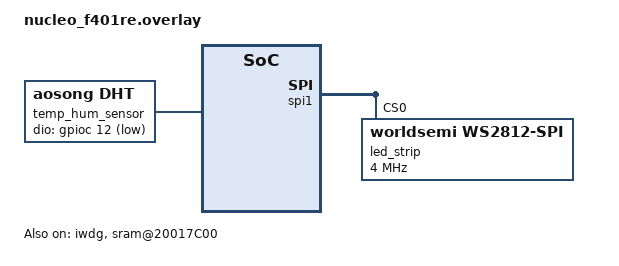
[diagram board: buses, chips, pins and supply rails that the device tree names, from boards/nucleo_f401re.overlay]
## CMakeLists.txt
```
# SPDX-License-Identifier: Apache-2.0

cmake_minimum_required(VERSION 3.20.0)

find_package(Zephyr REQUIRED HINTS $ENV{ZEPHYR_BASE})
project(zephyr_portfolio)

# option(TESTS "Run tests in test/" ON)
# option(TESTS "Run tests in test/" OFF)
if(TESTS)
    target_sources(app PRIVATE test/main.c src/tl_smf.c src/usr_thread.c)
else()
    target_sources(app PRIVATE src/main.c src/tl_smf.c src/usr_thread.c)
endif()
unset(TESTS CACHE)
```

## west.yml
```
manifest:
  self:
    west-commands: scripts/west-commands.yml
    path: app

  remotes:
    - name: zephyrproject-rtos
      url-base: https://github.com/zephyrproject-rtos

  projects:
    - name: zephyr
      remote: zephyrproject-rtos
      revision: v3.7.0
      import:
        path-prefix: deps
        name-allowlist:
          - zephyr
          - mbedtls
          - mcuboot
          - cmsis
          - hal_stm32
          - segger
          - zcbor
```

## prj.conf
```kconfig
# CONFIG THE OPTIMIZATION LEVEL AND OTHER OPTIMIZING FLAGS
#CONFIG_NO_OPTIMIZATIONS=y
CONFIG_DEBUG_OPTIMIZATIONS=y
CONFIG_BOOT_BANNER=y

# CONFIG THE COREDUMP
CONFIG_DEBUG_COREDUMP=y 
CONFIG_DEBUG_COREDUMP_BACKEND_LOGGING=y 

# CONFIG THE HARDWARE INFO SYSTEM
CONFIG_HWINFO=y

# CONFIG THE RETENTION SYSTEM
CONFIG_RETAINED_MEM=y
CONFIG_RETENTION=y

# INCREMENT MAIN TASK STACK SIZE AND PRIO BECOUSE OF THE SETTINGS SUBSYSTEM WITH NVS
CONFIG_MAIN_STACK_SIZE=4096
CONFIG_MAIN_THREAD_PRIORITY=5

# USE MCUBOOT
CONFIG_BOOTLOADER_MCUBOOT=y
CONFIG_MCUBOOT_SIGNATURE_KEY_FILE="deps/bootloader/mcuboot/root-rsa-2048.pem"
CONFIG_MCUBOOT_GENERATE_CONFIRMED_IMAGE=y

# USE LOG SUBSYSTEM
CONFIG_LOG=y
CONFIG_LOG_MODE_MINIMAL=y

# USE GPIO API
CONFIG_GPIO=y

# USE LED-STRIP API
CONFIG_LED_STRIP=y
CONFIG_LED_STRIP_LOG_LEVEL_DBG=y

# USE SENSING SUBSYSTEM
CONFIG_SENSOR=y
# ADD FLOATING POINT
CONFIG_REQUIRES_FULL_LIBC=y
CONFIG_REQUIRES_FLOAT_PRINTF=y
CONFIG_CBPRINTF_FP_SUPPORT=y

# USE FLASH API
CONFIG_FLASH=y
CONFIG_FLASH_PAGE_LAYOUT=y
CONFIG_FLASH_MAP=y

# ALLOW MPU TO WRITE IN FLASH
CONFIG_MPU_ALLOW_FLASH_WRITE=y

# USE NON VOLATILE STORAGE (NVS) SUBSYSTEM
CONFIG_NVS=y

# USE SETTINGS SUBSYSTEM
CONFIG_SETTINGS=y
CONFIG_SETTINGS_RUNTIME=y

# USE SETTINGS SUBSYSTEM WITH NVS SUBSYSTEM
CONFIG_SETTINGS_NVS=y

# USE SEGGER RTT AND TRACE SUBSYSTEM
CONFIG_STDOUT_CONSOLE=y
CONFIG_THREAD_NAME=y
CONFIG_SCHED_CPU_MASK=y
CONFIG_THREAD_ANALYZER=y
CONFIG_USE_SEGGER_RTT=y
CONFIG_SEGGER_SYSTEMVIEW=y
CONFIG_TRACING=y
CONFIG_TRACING_BACKEND_RAM=y

# USE ZBUS
CONFIG_ZBUS=y
CONFIG_ZBUS_LOG_LEVEL_INF=y
CONFIG_ZBUS_CHANNEL_NAME=y
CONFIG_ZBUS_OBSERVER_NAME=y
CONFIG_ZBUS_RUNTIME_OBSERVERS=y

# USE TASK WATCHDOG
CONFIG_WATCHDOG=y
CONFIG_WDT_DISABLE_AT_BOOT=y
CONFIG_TASK_WDT=y
CONFIG_TASK_WDT_CHANNELS=3
CONFIG_TASK_WDT_MIN_TIMEOUT=300
CONFIG_TASK_WDT_HW_FALLBACK_DELAY=30

# USE ZEPHYR KERNEL EVENTS
CONFIG_EVENTS=y

# USE FINITE STATE MACHINE SUBSYSTEM
CONFIG_SMF=y

# USE USER SPACE
CONFIG_MPU=y
CONFIG_USERSPACE=y
```

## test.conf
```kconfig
# ADD UNIT TESTING
CONFIG_ZTEST=y
```

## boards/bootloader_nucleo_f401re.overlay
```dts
/*
 * Copyright (c) 2023 Martin Jäger / Libre Solar
 *
 * SPDX-License-Identifier: Apache-2.0
 */

#include "nucleo_f401re.overlay"

/ {
	chosen {
		zephyr,code-partition = &boot_partition;
	};
};
```

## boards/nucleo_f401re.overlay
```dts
/*
 * Copyright (c) 2023 Martin Jäger / Libre Solar
 *
 * SPDX-License-Identifier: Apache-2.0
 */

 #include <zephyr/dt-bindings/led/led.h>

 / {
	chosen {
		zephyr,settings-partition = &storage_partition;
	};

	aliases {
		retention-data = &retention0;
		led-strip = &led_strip;
		temp-hum-sensor = &temp_hum_sensor;
		dbg-pin0 = &dbg_pin0;
		dbg-pin1 = &dbg_pin1;
		watchdog = &iwdg;
		tl-red = &tl_red;
		tl-orange = &tl_orange;
		tl-green = &tl_green;
	};

	sram@20017C00 {
		compatible = "zephyr,memory-region", "mmio-sram";
		reg = <0x20017C00 DT_SIZE_K(1)>;
		zephyr,memory-region = "RetainedMem";
		status = "okay";
		
		retainedmem {
			compatible = "zephyr,retained-ram";
			status = "okay";
			#address-cells = <1>;
			#size-cells = <1>;

			retention0: retention@0 {
				compatible = "zephyr,retention";
				status = "okay";
				reg = <0x0 0x400>;
				prefix = [de ad be ef];
				checksum = <1>;
			};
		};
	};

	dbg_pins: dbg_pins {
		compatible = "debug-pins";
		dbg_pin0: dbg_pin_0 {
			gpios = <&gpioc 6 GPIO_ACTIVE_HIGH>;
			label = "Debug PIn 0";
		};
		dbg_pin1: dbg_pin_1 {
			gpios = <&gpioc 8 GPIO_ACTIVE_HIGH>;
			label = "Debug PIn 1";
		};
	};

	tl_pins: tl_pins {
		compatible = "trafficlight-pins";
		tl_red: tl_red0 {
			gpios = <&gpioc 10 GPIO_ACTIVE_HIGH>;
			label = "Trafficlight Red";
		};
		tl_orange: tl_orange0 {
			gpios = <&gpioc 11 GPIO_ACTIVE_HIGH>;
			label = "Trafficlight Orange";
		};
		tl_green: tl_green0 {
			gpios = <&gpiod 2 GPIO_ACTIVE_HIGH>;
			label = "Trafficlight Green";
		};
	};

	temp_hum_sensor: dht110 {
		compatible = "aosong,dht";
		status = "okay";
		dio-gpios = <&gpioc 12 (GPIO_PULL_UP | GPIO_ACTIVE_LOW)>;
	};
};

// Reduce the sram0 size by the size of the retained memory
&sram0 {
	reg = <0x20000000 DT_SIZE_K(95)>;
};

/delete-node/ &boot_partition;
/delete-node/ &slot0_partition;
/delete-node/ &slot1_partition;
/delete-node/ &scratch_partition;

&flash0 {
	partitions {

		/*
		 * Accordingly with zephyr/drivers/flash/flash_stm32f4x.c :
		 * 
		 * static const struct flash_pages_layout stm32f4_flash_layout[] = {
		 * 	
		 * 	 // RM0368, table 5: STM32F401xE
		 * 	 // RM0383, table 4: STM32F411xE
		 * 	 // RM0390, table 4: STM32F446xx
		 * 
		 * 	{.pages_count = 4, .pages_size = KB(16)},
		 * 	{.pages_count = 1, .pages_size = KB(64)},
		 * 	{.pages_count = 3, .pages_size = KB(128)},
		 * };
		*/

		compatible = "fixed-partitions";
		#address-cells = <1>;
		#size-cells = <1>;
		
		boot_partition: partition@0 {
			label = "mcuboot";
			reg = <0x00000000 DT_SIZE_K(32)>;
			read-only;
		};
		storage_partition: partition@8000 {
			label = "storage";
			reg = <0x00008000 DT_SIZE_K(32)>;
		};

		/*
		 * The flash starting at offset 0x10000 and ending at
		 * offset 0x1ffff is reserved for use by the application.
		 * it is 1 page of 64KB
		 */

		slot0_partition: partition@20000 {
			label = "image-0";
			reg = <0x00020000 DT_SIZE_K(128)>;
		};
		slot1_partition: partition@40000 {
			label = "image-1";
			reg = <0x00040000 DT_SIZE_K(128)>;
		};
		scratch_partition: partition@60000 {
			label = "image-scratch";
			reg = <0x00060000 DT_SIZE_K(128)>;
		};
	};
};

&spi1 {
	led_strip: ws2812@0 {
		compatible = "worldsemi,ws2812-spi";

		/* SPI */
		reg = <0>; /* ignored, but necessary for SPI bindings */
		spi-max-frequency = <4000000>;
		frame-format = <32768>; /* SPI_FRAME_FORMAT_TI */

		/* WS2812 */
		chain-length = <3>; /* arbitrary; change at will */
		spi-one-frame = <0x70>;
		spi-zero-frame = <0x40>;
		color-mapping = <LED_COLOR_ID_GREEN
				 LED_COLOR_ID_RED
				 LED_COLOR_ID_BLUE>;
	};
};

&wwdg {
	status = "disabled";
};

&iwdg {
	status = "okay";
};
```

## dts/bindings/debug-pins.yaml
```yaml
description: GPIO pin for debug purposes
compatible: "debug-pins"

child-binding:
  description: The GPIO used for debug with logic analyzer.
  properties:
    gpios:
      type: phandle-array
      required: true
    label:
      type: string
      description: |
        The GPIO used for debug with logic analyzer.
```

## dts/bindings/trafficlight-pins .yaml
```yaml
description: GPIO pin for Trafficlight
compatible: "trafficlight-pins"

child-binding:
  description: The GPIO used for the trafficlight.
  properties:
    gpios:
      type: phandle-array
      required: true
    label:
      type: string
      description: |
        The GPIO used for the trafficlight.
```

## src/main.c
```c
/*
 * Copyright (c) 2024-2025 Silvio Vallorani
 *
 * SPDX-License-Identifier: Apache-2.0
 */

#include <SEGGER_RTT.h>
#include <SEGGER_RTT_Conf.h>
#include <errno.h>
#include <stdbool.h>
#include <stdio.h>
#include <string.h>
#include <zephyr/kernel.h>
#include <zephyr/device.h>
#include <zephyr/devicetree.h>
#include <zephyr/drivers/watchdog.h>
#include <zephyr/drivers/gpio.h>
#include <zephyr/drivers/hwinfo.h>
#include <zephyr/drivers/led_strip.h>
#include <zephyr/drivers/sensor.h>
#include <zephyr/drivers/spi.h>
#include <zephyr/retention/retention.h>
#include <zephyr/settings/settings.h>
#include <zephyr/sys/reboot.h>
#include <zephyr/sys/printk.h>
#include <zephyr/sys/util.h>
#include <zephyr/task_wdt/task_wdt.h>
#include <zephyr/zbus/zbus.h>
#include <zephyr/sys/libc-hooks.h>
#include "tl_smf.h"
#include "usr_thread.h"

// TASK WATCHDOG SUBSYSTEM DEFINITIONS
//#define FORCE_TEST_TASK_WATCHDOG // Uncomment to test the task watchdog
static const struct device *const hw_wdt_dev = DEVICE_DT_GET(DT_ALIAS(watchdog));
static void task_wdt_callback(int channel_id, void *user_data);

// RETENTION SYSTEM DEFINITIONS
static const struct device *retention_data = DEVICE_DT_GET(DT_ALIAS(retention_data));

// DEBUG PINS DEFINITIONS
static const struct gpio_dt_spec dbg_pin0 = GPIO_DT_SPEC_GET(DT_ALIAS(dbg_pin0), gpios);

// ONBOARD LED DEFINITIONS
static const struct gpio_dt_spec led = GPIO_DT_SPEC_GET(DT_ALIAS(led0), gpios);

// ONBOARD BUTTON DEFINITIONS
static const struct gpio_dt_spec button = GPIO_DT_SPEC_GET_OR(DT_ALIAS(sw0), gpios, {0});
#define BUTTON_ACTION_LEN (sizeof(int))
#define BUTTON_ACTION_ARRAY_SIZE (1)
K_MSGQ_DEFINE(button_action_msgq, BUTTON_ACTION_LEN, BUTTON_ACTION_ARRAY_SIZE, 4);
static struct gpio_callback button_cb_data;

// STRIP LED DEFINITIONS
#define LED_STRIP_NODE          DT_ALIAS(led_strip)
#define LED_STRIP_NUM_PIXELS    DT_PROP(DT_ALIAS(led_strip), chain_length)
#define RGB(_r, _g, _b) {.r = (_r), .g = (_g), .b = (_b)}
#define AMBIENT_HOT_THREASHOLD  (25)
#define AMBIENT_COLD_THREASHOLD (18)
#define AMBIENT_WET_THREASHOLD  (90)
#define AMBIENT_DRY_THREASHOLD  (70)
typedef enum {
    AMBIENT_HOT_WET,
    AMBIENT_HOT_NORMAL,
    AMBIENT_HOT_DRY,
    AMBIENT_NORMAL_WET,
    AMBIENT_NORMAL_NORMAL,
    AMBIENT_NORMAL_DRY,
    AMBIENT_COLD_WET,
    AMBIENT_COLD_NORMAL,
    AMBIENT_COLD_DRY,

    NUM_AMBIENT_STATES
} AMBIENT_STATE;
static const struct led_rgb default_ambient_rgb_table[NUM_AMBIENT_STATES] = {
    [AMBIENT_HOT_WET      ] RGB(0xff, 0x00, 0x00), // red
    [AMBIENT_HOT_NORMAL   ] RGB(0xff, 0x7f, 0x00), // orange
    [AMBIENT_HOT_DRY      ] RGB(0xff, 0xff, 0x00), // yellow
    [AMBIENT_NORMAL_WET   ] RGB(0x00, 0x00, 0xff), // blue
    [AMBIENT_NORMAL_NORMAL] RGB(0x00, 0xff, 0x00), // green
    [AMBIENT_NORMAL_DRY   ] RGB(0x00, 0xff, 0xff), // cyan
    [AMBIENT_COLD_WET     ] RGB(0xff, 0x7f, 0xff), // pink
    [AMBIENT_COLD_NORMAL  ] RGB(0xff, 0x00, 0xff), // purple
    [AMBIENT_COLD_DRY     ] RGB(0xff, 0xff, 0xff), // white
};
static const struct led_rgb alternate_ambient_rgb_table[NUM_AMBIENT_STATES] = {
    [AMBIENT_HOT_WET      ] RGB(0xff, 0xff, 0xff), // white
    [AMBIENT_HOT_NORMAL   ] RGB(0xff, 0x00, 0xff), // purple
    [AMBIENT_HOT_DRY      ] RGB(0xff, 0x7f, 0xff), // pink
    [AMBIENT_NORMAL_WET   ] RGB(0x00, 0xff, 0xff), // cyan
    [AMBIENT_NORMAL_NORMAL] RGB(0x00, 0xff, 0x00), // green
    [AMBIENT_NORMAL_DRY   ] RGB(0x00, 0x00, 0xff), // blue
    [AMBIENT_COLD_WET     ] RGB(0xff, 0xff, 0x00), // yellow
    [AMBIENT_COLD_NORMAL  ] RGB(0xff, 0x7f, 0x00), // orange
    [AMBIENT_COLD_DRY     ] RGB(0xff, 0x00, 0x00), // red
};
static const struct device *const strip = DEVICE_DT_GET(LED_STRIP_NODE);
static struct led_rgb ambient_rgb_table[NUM_AMBIENT_STATES];
struct led_rgb led_rgb_pixels[LED_STRIP_NUM_PIXELS];

// TEMPERATURE-HUMIDITY SENSOR DEFINITIONS
static const struct device *const temp_hum_sensor = DEVICE_DT_GET(DT_ALIAS(temp_hum_sensor));

// SEGGER RTT DEFINITIONS
K_MUTEX_DEFINE(rtt_mtx);
static char g_rtt_buff[128];
#define RTT_CUSTOM_PRINT(...)                                        \
    {                                                                \
        __unused int ret;                                            \
        ret = k_mutex_lock(&rtt_mtx, K_FOREVER);                     \
        ret = snprintk(g_rtt_buff, sizeof(g_rtt_buff), __VA_ARGS__); \
        ret = SEGGER_RTT_WriteString(0, g_rtt_buff);                 \
        ret = k_mutex_unlock(&rtt_mtx);                              \
    }

// SETTINGS SUBSYSTEM DEFINITIONS
int settings_handle_set(const char *name, size_t len, settings_read_cb read_cb, void *cb_arg);
int settings_handle_commit(void);
int settings_handle_export(int (*cb)(const char *name, const void *value, size_t val_len));
int settings_handle_get(const char *key, char *val, int val_len_max);
const struct settings_handler settings = {.name = "settings",
                                          .h_set = settings_handle_set,
                                          .h_commit = settings_handle_commit,
                                          .h_export = settings_handle_export,
                                          .h_get = settings_handle_get};

// THREAD MAIN DEFINITIONS
#define THREAD_MAIN_SLEEPTIME 2000

// THREAD SENSOR DEFINITIONS
#define THREAD_SENSOR_SLEEPTIME 1000
#define THREAD_SENSOR_STACKSIZE 2048
#define THREAD_SENSOR_PRIORITY 7
void thread_sensor_entry_point(void *dummy1, void *dummy2, void *dummy3);
void thread_sensor_loop(const char *my_name);
K_THREAD_DEFINE(thread_sensor, 
                THREAD_SENSOR_STACKSIZE, 
                thread_sensor_entry_point, NULL, NULL, NULL,
                THREAD_SENSOR_PRIORITY, 0, 0);

// THREAD STRIP-LED DEFINITIONS
#define THREAD_STRIPLED_SLEEPTIME 1000
#define THREAD_STRIPLED_STACKSIZE 2048
#define THREAD_STRIPLED_PRIORITY 8
void thread_stripled_entry_point(void *dummy1, void *dummy2, void *dummy3);
void thread_stripled_loop(const char *my_name);
K_THREAD_DEFINE(thread_stripled, 
                THREAD_STRIPLED_STACKSIZE, 
                thread_stripled_entry_point, NULL, NULL, NULL,
                THREAD_STRIPLED_PRIORITY, 0, 0);
AMBIENT_STATE calc_ambient_state(int32_t t, int32_t h);

// ZBUS DEFINITIONS
#define SUBSCRIBER_QUEUE_SIZE 4
struct th_msg {
    int32_t temperature;
    int32_t humidity;
};
static void th_listener_cb(const struct zbus_channel *chan);
ZBUS_LISTENER_DEFINE(th_listner, th_listener_cb);
ZBUS_SUBSCRIBER_DEFINE(th_subscriber, SUBSCRIBER_QUEUE_SIZE);
ZBUS_CHAN_DEFINE(th_chan,                                       /* Name */
                 struct th_msg,                                 /* Message type */
                 NULL,                                          /* Validator */
                 NULL,                                          /* User data */
                 ZBUS_OBSERVERS(th_listner, th_subscriber),     /* observers */
                 ZBUS_MSG_INIT(.temperature = 0, .humidity = 0) /* Initial value */
);

//////////////////////////////////////////////////////////////////////////////////////////
//  SETTINGS SUBSYSTEM IMPLEMENTATION
//////////////////////////////////////////////////////////////////////////////////////////
int settings_handle_set(const char *name, size_t len, settings_read_cb read_cb, void *cb_arg) {
    const char *next;
    size_t name_len;
    __unused int rc;
    name_len = settings_name_next(name, &next);
    if (!next) {
        if (!strncmp(name, "ambient_rgb_table", name_len)) {
            rc = read_cb(cb_arg, &ambient_rgb_table, sizeof(ambient_rgb_table));
            return 0;
        }
    }
    ARG_UNUSED(len);
    return -ENOENT;
}

int settings_handle_commit(void) {
    return 0;
}

int settings_handle_export(int (*cb)(const char *name, const void *value, size_t val_len)) {
    (void)cb("settings/ambient_rgb_table", &ambient_rgb_table, sizeof(ambient_rgb_table));
    return 0;
}

int settings_handle_get(const char *key, char *val, int val_len_max) {
    ARG_UNUSED(key);
    ARG_UNUSED(val);
    ARG_UNUSED(val_len_max);
    return 0;
}

//////////////////////////////////////////////////////////////////////////////////////////
//  BUTTON PRESSED IMPLEMENTATION
//////////////////////////////////////////////////////////////////////////////////////////
void button_pressed(const struct device *dev, struct gpio_callback *cb, uint32_t pins) {
    k_msgq_put(&button_action_msgq, &pins, K_NO_WAIT);
    k_event_post(s_object_get_event_listener(s_object_get_reference()), TL_EVENT_BTN_PRESS);
    ARG_UNUSED(dev);
    ARG_UNUSED(cb);
}

//////////////////////////////////////////////////////////////////////////////////////////
//  ZBUS LISTENER IMPLEMENTATION
//////////////////////////////////////////////////////////////////////////////////////////
static void th_listener_cb(const struct zbus_channel *chan) {
    __unused int ret;
    const struct th_msg *th = zbus_chan_const_msg(chan);
    RTT_CUSTOM_PRINT("From listener -> Temperature x=%d, Humidity=%d\n", th->temperature, th->humidity);
    ret = gpio_pin_toggle_dt(&led);
}

//////////////////////////////////////////////////////////////////////////////////////////
//  THREAD SENSOR IMPLEMENTATION
//////////////////////////////////////////////////////////////////////////////////////////
void thread_sensor_entry_point(void *dummy1, void *dummy2, void *dummy3) {
    __unused int ret;
    ret = device_is_ready(temp_hum_sensor);
    thread_sensor_loop(__func__);
    ARG_UNUSED(dummy1);
    ARG_UNUSED(dummy2);
    ARG_UNUSED(dummy3);
}

void thread_sensor_loop(const char *my_name) {
    const char *tname;
    const struct k_thread *current_thread;
    struct sensor_value temperature;
    struct sensor_value humidity;
    struct th_msg th;
    int task_wdt_id = task_wdt_add(2*THREAD_SENSOR_SLEEPTIME, task_wdt_callback, (void *)k_current_get());
    __unused int ret;

    while (1) {
        // Feed the task watchdog
        task_wdt_feed(task_wdt_id);
        current_thread = k_current_get();
        tname = k_thread_name_get((k_tid_t)current_thread);
        if (tname != NULL) {
            ret = sensor_sample_fetch(temp_hum_sensor);
            ret = sensor_channel_get(temp_hum_sensor, SENSOR_CHAN_AMBIENT_TEMP, &temperature);
            ret = sensor_channel_get(temp_hum_sensor, SENSOR_CHAN_HUMIDITY, &humidity);
            RTT_CUSTOM_PRINT("From sensor thread -> Temperature x=%d, Humidity=%d\n", temperature.val1, humidity.val1);
            th.temperature = temperature.val1;
            th.humidity = humidity.val1;
            zbus_chan_pub(&th_chan, &th, K_SECONDS(1));
        } else {
            k_cpu_idle();
        }
        k_msleep(THREAD_SENSOR_SLEEPTIME);
    }
    ARG_UNUSED(my_name);
}

//////////////////////////////////////////////////////////////////////////////////////////
//  THREAD STRIP-LED IMPLEMENTATION
//////////////////////////////////////////////////////////////////////////////////////////
void thread_stripled_entry_point(void *dummy1, void *dummy2, void *dummy3) {
    __unused int ret;
    ret = device_is_ready(strip);
    memset(&led_rgb_pixels, 0x00, sizeof(led_rgb_pixels));
    ret = led_strip_update_rgb(strip, led_rgb_pixels, LED_STRIP_NUM_PIXELS);
    thread_stripled_loop(__func__);
    ARG_UNUSED(dummy1);
    ARG_UNUSED(dummy2);
    ARG_UNUSED(dummy3);
}

void thread_stripled_loop(const char *my_name) {
    const char *tname;
    const struct k_thread *current_thread;
    const struct zbus_channel *chan;
    AMBIENT_STATE ambient_state;
    int task_wdt_id = task_wdt_add(2*THREAD_STRIPLED_SLEEPTIME, task_wdt_callback, (void *)k_current_get());
    __unused int ret;
    while (1) {
#ifdef FORCE_TEST_TASK_WATCHDOG
        static int count = 0;
        if (count++ == 10) {
            k_sleep(K_FOREVER);
        }
#endif
        // Feed the task watchdog
        task_wdt_feed(task_wdt_id);
        current_thread = k_current_get();
        tname = k_thread_name_get((k_tid_t)current_thread);
        if (tname != NULL) {
            struct th_msg th;
            if (!zbus_sub_wait(&th_subscriber, &chan, K_NO_WAIT)) {
                if (&th_chan == chan) {
                    zbus_chan_read(&th_chan, &th, K_MSEC(THREAD_STRIPLED_SLEEPTIME));
                    RTT_CUSTOM_PRINT("From subscriber -> Temperature=%d, Humidity=%d\n", th.temperature, th.humidity);
                }
            }
            ambient_state = calc_ambient_state(th.temperature, th.humidity);
            for (int px = 0; px < LED_STRIP_NUM_PIXELS; px++) {
                memcpy(&led_rgb_pixels[px], &ambient_rgb_table[ambient_state], sizeof(struct led_rgb));
            }
            ret = led_strip_update_rgb(strip, led_rgb_pixels, LED_STRIP_NUM_PIXELS);
        } else {
            k_cpu_idle();
        }
        k_msleep(THREAD_STRIPLED_SLEEPTIME);
    }
    ARG_UNUSED(my_name);
}

AMBIENT_STATE calc_ambient_state(int32_t t, int32_t h) {
    if        (t >= AMBIENT_HOT_THREASHOLD  && h >= AMBIENT_WET_THREASHOLD) {
        return AMBIENT_HOT_WET;
    } else if (t >= AMBIENT_HOT_THREASHOLD  && h >= AMBIENT_DRY_THREASHOLD) {
        return AMBIENT_HOT_NORMAL;
    } else if (t >= AMBIENT_HOT_THREASHOLD  && h <  AMBIENT_DRY_THREASHOLD) {
        return AMBIENT_HOT_DRY;
    } else if (t >= AMBIENT_COLD_THREASHOLD && h >= AMBIENT_WET_THREASHOLD) {
        return AMBIENT_NORMAL_WET;
    } else if (t >= AMBIENT_COLD_THREASHOLD && h >= AMBIENT_DRY_THREASHOLD) {
        return AMBIENT_NORMAL_NORMAL;
    } else if (t >= AMBIENT_COLD_THREASHOLD && h <  AMBIENT_DRY_THREASHOLD) {
        return AMBIENT_NORMAL_DRY;
    } else if (t <  AMBIENT_COLD_THREASHOLD && h >= AMBIENT_WET_THREASHOLD) {
        return AMBIENT_COLD_WET;
    } else if (t <  AMBIENT_COLD_THREASHOLD && h >= AMBIENT_DRY_THREASHOLD) {
        return AMBIENT_COLD_NORMAL;
    } else if (t <  AMBIENT_COLD_THREASHOLD && h <  AMBIENT_DRY_THREASHOLD) {
        return AMBIENT_COLD_DRY;
    } else {
        return AMBIENT_NORMAL_NORMAL;
    }
}

//////////////////////////////////////////////////////////////////////////////////////////
//  THREAD MAIN IMPLEMENTATION
//////////////////////////////////////////////////////////////////////////////////////////
int main(void) {
    __unused int ret;
    __unused ssize_t len;
    int rstCause, rstCount, rstCountReload;

    // Setup HARDWARE WATCHDOG
    ret = device_is_ready(hw_wdt_dev);
    ret = task_wdt_init(hw_wdt_dev);
    int task_wdt_id = task_wdt_add(2*THREAD_MAIN_SLEEPTIME, NULL, NULL);

    // Setup Retention Subsystem
    ret = device_is_ready(retention_data);

    // On Cold Start Clear the Retention Data
    ret = hwinfo_get_reset_cause(&rstCause);
    if (rstCause & (RESET_BROWNOUT | RESET_POR)) {
        ret = retention_clear(retention_data);
    }
    ret = hwinfo_clear_reset_cause();

    // Reload Retention Data and Update Values
    ret = retention_read(retention_data, 10, (uint8_t *)&rstCount, sizeof(rstCount));
    rstCount++;
    ret = retention_write(retention_data, 10, (uint8_t *)&rstCount, sizeof(rstCount));
    ret = retention_read(retention_data, 10, (uint8_t *)&rstCountReload, sizeof(rstCountReload));

    // Setup onboard button in interrupt mode
    ret = gpio_is_ready_dt(&button);
    ret = gpio_pin_configure_dt(&button, GPIO_INPUT);
    ret = gpio_pin_interrupt_configure_dt(&button, GPIO_INT_EDGE_TO_ACTIVE);
    gpio_init_callback(&button_cb_data, button_pressed, BIT(button.pin));
    gpio_add_callback(button.port, &button_cb_data);

    // Setup onboard led
    ret = gpio_is_ready_dt(&led);
    ret = gpio_pin_configure_dt(&led, GPIO_OUTPUT_ACTIVE);

    // Setup debug pins
    ret = gpio_is_ready_dt(&dbg_pin0);
    ret = gpio_pin_configure_dt(&dbg_pin0, GPIO_OUTPUT_ACTIVE);

    // Setup Settings Subsystem
    ret = settings_subsys_init();
    ret = settings_register((struct settings_handler *)&settings);
    // Dummy save to clear the flash registers
    int dummy = 0;
    ret = settings_save_one("", (const void *)&dummy, sizeof(dummy));

    // Save alternative colors map in NVS
    memcpy(ambient_rgb_table, alternate_ambient_rgb_table, sizeof(ambient_rgb_table));
    ret = settings_save();

    // Setup actual colors map in default values
    memcpy(ambient_rgb_table, default_ambient_rgb_table, sizeof(ambient_rgb_table));

    // Init the User
    thread_userspace_init();

    while (1) {
        // Feed the task watchdog
        task_wdt_feed(task_wdt_id);
        // Toggle debug pins just to see if the board is working
        ret = gpio_pin_toggle_dt(&dbg_pin0);

        k_msleep(THREAD_MAIN_SLEEPTIME);

        if (k_msgq_num_used_get(&button_action_msgq)) {
            struct led_rgb act_rgb_table[NUM_AMBIENT_STATES];
            struct led_rgb next_rgb_table[NUM_AMBIENT_STATES];
            uint32_t button_states;
            k_msgq_get(&button_action_msgq, &button_states, K_NO_WAIT);
            // Save actual colors map in local variable
            memcpy(act_rgb_table, ambient_rgb_table, sizeof(act_rgb_table));
            // Load the new colors map from NVS
            ret = settings_load();
            // Save new colors map in local variable
            memcpy(next_rgb_table, ambient_rgb_table, sizeof(next_rgb_table));
            // Save next colors map in NVS
            memcpy(ambient_rgb_table, act_rgb_table, sizeof(ambient_rgb_table));
            ret = settings_save();
            // Set the new colors map from local variable
            memcpy(ambient_rgb_table, next_rgb_table, sizeof(ambient_rgb_table));
        }
    }
    return 0;
}

//////////////////////////////////////////////////////////////////////////////////////////
//  TASK WATCHDOG IMPLEMENTATION
//////////////////////////////////////////////////////////////////////////////////////////
static void task_wdt_callback(int channel_id, void *user_data)
{
    RTT_CUSTOM_PRINT("Task watchdog channel %d callback, thread: %s\n", channel_id, k_thread_name_get((k_tid_t)user_data));
    RTT_CUSTOM_PRINT("Resetting device...\n");
    sys_reboot(SYS_REBOOT_WARM);
}
```

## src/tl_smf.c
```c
/*
 * Copyright (c) 2024-2025 Silvio Vallorani
 *
 * SPDX-License-Identifier: Apache-2.0
 */

#include <errno.h>
#include <stdbool.h>
#include <stdio.h>
#include <string.h>
#include <zephyr/kernel.h>
#include <zephyr/device.h>
#include <zephyr/devicetree.h>
#include <zephyr/drivers/watchdog.h>
#include <zephyr/drivers/gpio.h>
#include <zephyr/sys/reboot.h>
#include <zephyr/task_wdt/task_wdt.h>
#include <zephyr/smf.h>
#include "tl_smf.h"

// TRAFFICLIGHT DEFINITIONS
#define TF_LIGHT_ON  0
#define TF_LIGHT_OFF 1

// TRAFFICLIGHT PINS DEFINITIONS
const struct gpio_dt_spec tl_red = GPIO_DT_SPEC_GET(DT_ALIAS(tl_red), gpios);
const struct gpio_dt_spec tl_orange = GPIO_DT_SPEC_GET(DT_ALIAS(tl_orange), gpios);
const struct gpio_dt_spec tl_green = GPIO_DT_SPEC_GET(DT_ALIAS(tl_green), gpios);

// THREAD TRAFFICLIGHT DEFINITIONS
#define THREAD_TRAFFICLIGHT_SLEEPTIME 500
#define THREAD_TRAFFICLIGHT_STACKSIZE 2048
#define THREAD_TRAFFICLIGHT_PRIORITY 7
#define THREAD_TRAFFICLIGHT_OPTIONS 0 //K_USER
#define THREAD_TRAFFICLIGHT_DEALAIED_STARTUP_MS 2000
void thread_trafficlight_entry_point(void *dummy1, void *dummy2, void *dummy3);
void thread_trafficlight_loop(const char *my_name);
K_THREAD_DEFINE(thread_trafficlight, 
                THREAD_TRAFFICLIGHT_STACKSIZE, 
                thread_trafficlight_entry_point, NULL, NULL, NULL, 
                THREAD_TRAFFICLIGHT_PRIORITY, 
                THREAD_TRAFFICLIGHT_OPTIONS, 
                THREAD_TRAFFICLIGHT_DEALAIED_STARTUP_MS);

void tf_timer_handler(struct k_timer *dummy);
void tl_timeout_work_handler(struct k_work *work);
K_TIMER_DEFINE(tl_timer, tf_timer_handler, NULL);
K_WORK_DEFINE(tl_timeout_work, tl_timeout_work_handler);

/* Forward declaration of state table */
static const struct smf_state tl_states[];

/* List of demo states */
enum tl_state { SERVICE, STOP, WARNING, GO };

/* User defined object */
struct s_object tl_s_obj;

struct s_object* s_object_get_reference(void)
{
    return &tl_s_obj;
}
/* Event listner getter */
struct k_event* s_object_get_event_listener(struct s_object *self)
{
    return &self->smf_event;
}

/* State SERVICE */
static void service_entry(void *o) {
    /* Turn off all lights */
    gpio_pin_set_dt(&tl_red, TF_LIGHT_OFF);
    gpio_pin_set_dt(&tl_orange, TF_LIGHT_OFF);
    gpio_pin_set_dt(&tl_green, TF_LIGHT_OFF);
    k_timer_stop(&tl_timer);
}
static void service_run(void *o) {
    struct s_object *s = (struct s_object *)o;
    /* Blink orange light */
    gpio_pin_toggle_dt(&tl_orange);
    /* Change states on Button Press Event */
    if (s->events & TL_EVENT_BTN_PRESS) {
        smf_set_state(SMF_CTX(&tl_s_obj), &tl_states[STOP]);
    }
}
static void service_exit(void *o) {
    /* Turn off orange light */
    gpio_pin_set_dt(&tl_orange, TF_LIGHT_OFF);
}

/* State STOP */
static void stop_entry(void *o) {
    /* Do something */
    /* Turn on red light */
    gpio_pin_set_dt(&tl_red, TF_LIGHT_ON);
    k_timer_start(&tl_timer, K_SECONDS(10), K_NO_WAIT);
}
static void stop_run(void *o) {
    struct s_object *s = (struct s_object *)o;
    /* Change states on Button Press Event */
    if (s->events & TL_EVENT_BTN_PRESS) {
        smf_set_state(SMF_CTX(&tl_s_obj), &tl_states[SERVICE]);
    } else if (s->events & TL_EVENT_TIMEOUT) {
        smf_set_state(SMF_CTX(&tl_s_obj), &tl_states[GO]);
    }
}
static void stop_exit(void *o) {
    /* Do something */
    /* Turn off red light */
    gpio_pin_set_dt(&tl_red, TF_LIGHT_OFF);
}

/* State WARNING */
static void warning_entry(void *o) {
    /* Do something */
    /* Turn on orange light */
    gpio_pin_set_dt(&tl_orange, TF_LIGHT_ON);
    k_timer_start(&tl_timer, K_SECONDS(4), K_NO_WAIT);
}
static void warning_run(void *o) {
        struct s_object *s = (struct s_object *)o;
    /* Change states on Button Press Event */
    if (s->events & TL_EVENT_BTN_PRESS) {
        smf_set_state(SMF_CTX(&tl_s_obj), &tl_states[SERVICE]);
    } else if (s->events & TL_EVENT_TIMEOUT) {
        smf_set_state(SMF_CTX(&tl_s_obj), &tl_states[STOP]);
    }
}
static void warning_exit(void *o) {
    /* Do something */
    /* Turn off orange light */
    gpio_pin_set_dt(&tl_orange, TF_LIGHT_OFF);
}

/* State GO */
static void go_entry(void *o) {
    /* Do something */
    /* Turn on green light */
    gpio_pin_set_dt(&tl_green, TF_LIGHT_ON);
    k_timer_start(&tl_timer, K_SECONDS(20), K_NO_WAIT);
}
static void go_run(void *o) {
        struct s_object *s = (struct s_object *)o;
    /* Change states on Button Press Event */
    if (s->events & TL_EVENT_BTN_PRESS) {
        smf_set_state(SMF_CTX(&tl_s_obj), &tl_states[SERVICE]);
    } else if (s->events & TL_EVENT_TIMEOUT) {
        smf_set_state(SMF_CTX(&tl_s_obj), &tl_states[WARNING]);
    }
}
static void go_exit(void *o) {
    /* Do something */
    /* Turn off green light */
    gpio_pin_set_dt(&tl_green, TF_LIGHT_OFF);
}

/* Populate state table */
static const struct smf_state tl_states[] = {
    [SERVICE] = SMF_CREATE_STATE(service_entry, service_run, service_exit, NULL, NULL),
    [STOP   ] = SMF_CREATE_STATE(stop_entry, stop_run, stop_exit, NULL, NULL),
    [WARNING] = SMF_CREATE_STATE(warning_entry, warning_run, warning_exit, NULL, NULL),
    [GO     ] = SMF_CREATE_STATE(go_entry, go_run, go_exit, NULL, NULL),
};

void tf_timer_handler(struct k_timer *dummy)
{
    k_work_submit(&tl_timeout_work);
}

void tl_timeout_work_handler(struct k_work *work)
{
    k_event_post(&tl_s_obj.smf_event, TL_EVENT_TIMEOUT);
}

//////////////////////////////////////////////////////////////////////////////////////////
//  THREAD TRAFFICLIGHT IMPLEMENTATION
//////////////////////////////////////////////////////////////////////////////////////////
void thread_trafficlight_entry_point(void *dummy1, void *dummy2, void *dummy3) {
    __unused volatile int ret;
    // Setup debug pins
    ret = gpio_is_ready_dt(&tl_red);
    ret = gpio_pin_configure_dt(&tl_red, GPIO_OUTPUT_ACTIVE);
    ret = gpio_is_ready_dt(&tl_orange);
    ret = gpio_pin_configure_dt(&tl_orange, GPIO_OUTPUT_ACTIVE);
    ret = gpio_is_ready_dt(&tl_green);
    ret = gpio_pin_configure_dt(&tl_green, GPIO_OUTPUT_ACTIVE);
    k_event_init(&tl_s_obj.smf_event);
    smf_set_initial(SMF_CTX(&tl_s_obj), &tl_states[SERVICE]);
    thread_trafficlight_loop(__func__);
    ARG_UNUSED(dummy1);
    ARG_UNUSED(dummy2);
    ARG_UNUSED(dummy3);
}

void tl_wdt_callback (int channel_id, void *user_data);
void thread_trafficlight_loop(const char *my_name) {
    volatile int ret;
    ret = 0;
    int task_wdt_id = task_wdt_add(2*THREAD_TRAFFICLIGHT_SLEEPTIME, tl_wdt_callback, (void *)k_current_get());
    while (1) {
        // Feed the task watchdog
        task_wdt_feed(task_wdt_id);
        tl_s_obj.events = k_event_wait(&tl_s_obj.smf_event, TL_EVENT_BTN_PRESS | TL_EVENT_TIMEOUT, true, K_MSEC(THREAD_TRAFFICLIGHT_SLEEPTIME));
        ret = smf_run_state(SMF_CTX(&tl_s_obj));
        if (ret) {
            k_cpu_idle();
            //break;
        }
    }
    ARG_UNUSED(my_name);
}


//////////////////////////////////////////////////////////////////////////////////////////
//  TASK WATCHDOG IMPLEMENTATION
//////////////////////////////////////////////////////////////////////////////////////////
void tl_wdt_callback(int channel_id, void *user_data)
{
    sys_reboot(SYS_REBOOT_WARM);
}
```

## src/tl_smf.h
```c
/*
 * Copyright (c) 2024-2025 Silvio Vallorani
 *
 * SPDX-License-Identifier: Apache-2.0
 */

#ifndef TL_SMF_H_
#define TL_SMF_H_ 1

#include <zephyr/kernel.h>
#include <zephyr/smf.h>

// TRAFFICLIGHT EVENTS DEFINITIONS
#define TL_EVENT_BTN_PRESS BIT(0)
#define TL_EVENT_TIMEOUT  BIT(1)

struct s_object {
    /* This must be first */
    struct smf_ctx ctx;
    /* Other state specific data add here */
    /* Events */
    struct k_event smf_event;
    int32_t events;
};

struct s_object* s_object_get_reference(void);
struct k_event* s_object_get_event_listener(struct s_object *self);

#endif /* TL_SMF_H_ */
```

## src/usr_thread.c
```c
/*
 * Copyright (c) 2024-2025 Silvio Vallorani
 *
 * SPDX-License-Identifier: Apache-2.0
 */

#include <errno.h>
#include <stdbool.h>
#include <stdio.h>
#include <string.h>
#include <stdlib.h>
#include <zephyr/kernel.h>
#include <zephyr/kernel_structs.h>
#include <zephyr/device.h>
#include <zephyr/devicetree.h>
#include <zephyr/drivers/gpio.h>
#include <zephyr/sys/printk.h>
#include <zephyr/sys/mem_manage.h>
#include <zephyr/sys/libc-hooks.h>
#include <zephyr/sys/util.h>
#include <zephyr/app_memory/app_memdomain.h>
#include "usr_thread.h"

//#define FORCE_TEST_USERSPACE_MEM_ACCESS // Uncomment to test the user mode access to the memory domain
//#define FORCE_TEST_USERSPACE_GPIO_ACCESS // Uncomment to test the user mode access to the GPIO device

// DEBUG PIN DEFINITION
static const struct gpio_dt_spec dbg_pin1 = GPIO_DT_SPEC_GET(DT_ALIAS(dbg_pin1), gpios);

// MEMORY PARTITION DEFINITION
FOR_EACH(K_APPMEM_PARTITION_DEFINE, (;), userspace_partition);
struct k_mem_partition *userspace_parts[] = {
#if Z_LIBC_PARTITION_EXISTS
	&z_libc_partition,
#endif
	&userspace_partition,
};
struct k_mem_domain userspace_domain;

// THREAD USERSPACE DEFINITIONS
#define THREAD_USERSPACE_SLEEPTIME 1000
#define THREAD_USERSPACE_STACKSIZE 2048
#define THREAD_USERSPACE_PRIORITY 7
#define THREAD_USERSPACE_OPTIONS K_USER
#define THREAD_USERSPACE_DEALAYED_STARTUP_MS K_FOREVER
// Define the stack for the new thread
K_THREAD_STACK_DEFINE(thread_userspace_stack_area, THREAD_USERSPACE_STACKSIZE);
// Define the thread data structure
struct k_thread thread_userspace;
// Define the thread entry point
static void thread_userspace_loop(void *dummy1, void *dummy2, void *dummy3);
// Define the thread ID
k_tid_t userspace_thread;

//////////////////////////////////////////////////////////////////////////////////////////
//  THREAD USERSPACE INITIALIZATION
//////////////////////////////////////////////////////////////////////////////////////////
void thread_userspace_init(void) {
    __unused int ret;
    // Setup debug pins
    ret = gpio_is_ready_dt(&dbg_pin1);
    ret = gpio_pin_configure_dt(&dbg_pin1, GPIO_OUTPUT_ACTIVE);

    // Init the userspace memory domain
    ret = k_mem_domain_init(&userspace_domain, ARRAY_SIZE(userspace_parts), userspace_parts);

	// Create the userspace thread in users mode
	userspace_thread = k_thread_create(&thread_userspace, thread_userspace_stack_area, THREAD_USERSPACE_STACKSIZE,
					thread_userspace_loop, NULL, NULL, NULL,
					THREAD_USERSPACE_PRIORITY, THREAD_USERSPACE_OPTIONS, THREAD_USERSPACE_DEALAYED_STARTUP_MS);

    // Add the userspace thread to the userspace memory domain
    ret = k_mem_domain_add_thread(&userspace_domain, userspace_thread);

    // Grant access to the GPIO device to the userspace thread
#if defined(FORCE_TEST_USERSPACE_GPIO_ACCESS)
#else
    k_object_access_grant(dbg_pin1.port, userspace_thread);
#endif

	// Start the userspace thread
	k_thread_start(userspace_thread);
}

//////////////////////////////////////////////////////////////////////////////////////////
//  USERSPACE GLOBAL VARIABLES DECLARATION
//////////////////////////////////////////////////////////////////////////////////////////
_userspace_bss int foo;
#if defined(FORCE_TEST_USERSPACE_MEM_ACCESS)
int bar;
#else
_userspace_bss int bar;
#endif

//////////////////////////////////////////////////////////////////////////////////////////
//  THREAD USERSPACE IMPLEMENTATION
//////////////////////////////////////////////////////////////////////////////////////////
static void thread_userspace_loop(void *dummy1, void *dummy2, void *dummy3) {
    __unused int ret;
    ret = 0;

	foo = 1;
	bar = 2; // This will generate a fault if FORCE_TEST_USERSPACE_MEM_ACCESS is defined

    while (1) {
        ret = gpio_pin_toggle_dt(&dbg_pin1); // This will generate a fault if FORCE_TEST_USERSPACE_GPIO_ACCESS is defined
        k_msleep(THREAD_USERSPACE_SLEEPTIME);
    }
    ARG_UNUSED(dummy1);
    ARG_UNUSED(dummy2);
    ARG_UNUSED(dummy3);
}
```

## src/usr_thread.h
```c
/*
 * Copyright (c) 2024-2025 Silvio Vallorani
 *
 * SPDX-License-Identifier: Apache-2.0
 */

#ifndef USR_THREAD_H_
#define USR_THREAD_H_ 1

#include <zephyr/kernel.h>
#include <zephyr/sys/mem_manage.h>
#include <zephyr/app_memory/app_memdomain.h>

#define _userspace_data K_APP_DMEM(userspace_partition)
#define _userspace_bss K_APP_BMEM(userspace_partition)

void thread_userspace_init(void);

#endif /* USR_THREAD_H_ */
```
